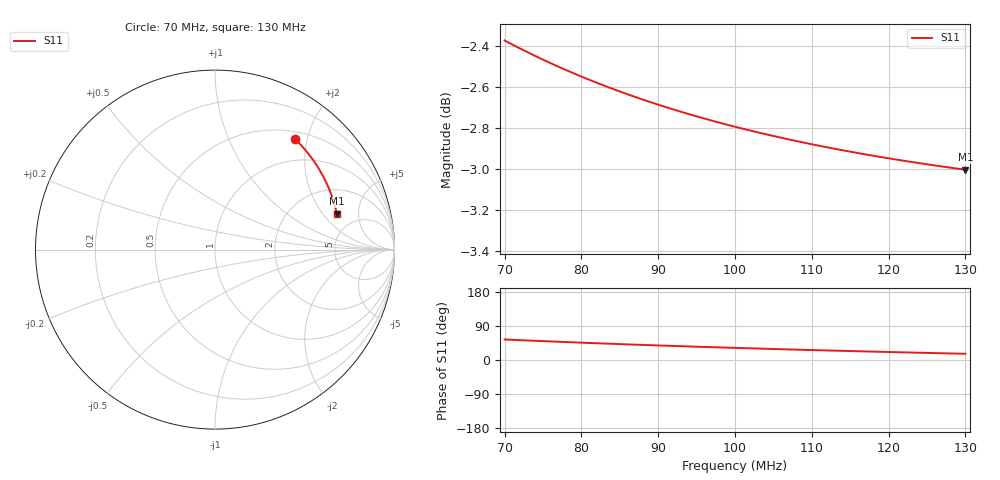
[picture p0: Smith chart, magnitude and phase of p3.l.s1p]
# Hz S RI R 50
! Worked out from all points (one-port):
!   100 points, 70 MHz to 130 MHz, reference 50 ohm
!   lowest |S11| = -3.0 dB at 130 MHz (marker M1), VSWR 5.84, Z = 174 + j140 ohm
!   |S11| at or under -10 dB: nowhere
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7e7  0.4451 0.617
7.181818e7  0.4607 0.6016
7.363636e7  0.4753 0.5863
7.545455e7  0.4891 0.5711
7.666667e7  0.4979 0.5611
7.787879e7  0.5064 0.5512
7.969697e7  0.5184 0.5364
8.151515e7  0.5298 0.5218
8.333333e7  0.5406 0.5073
8.515152e7  0.5507 0.4931
8.69697e7  0.5603 0.479
8.878788e7  0.5693 0.4652
9.060606e7  0.5778 0.4515
9.30303e7  0.5885 0.4336
9.484848e7  0.5959 0.4204
9.666667e7  0.6029 0.4074
9.848485e7  0.6096 0.3946
1.00303e8  0.6158 0.382
1.021212e8  0.6218 0.3695
1.039394e8  0.6273 0.3573
1.075758e8  0.6375 0.3333
1.112121e8  0.6466 0.31
1.130303e8  0.6507 0.2987
1.154545e8  0.6559 0.2837
1.190909e8  0.6628 0.2619
1.227273e8  0.6689 0.2407
1.263636e8  0.6742 0.2201
1.3e8  0.6789 0.2
